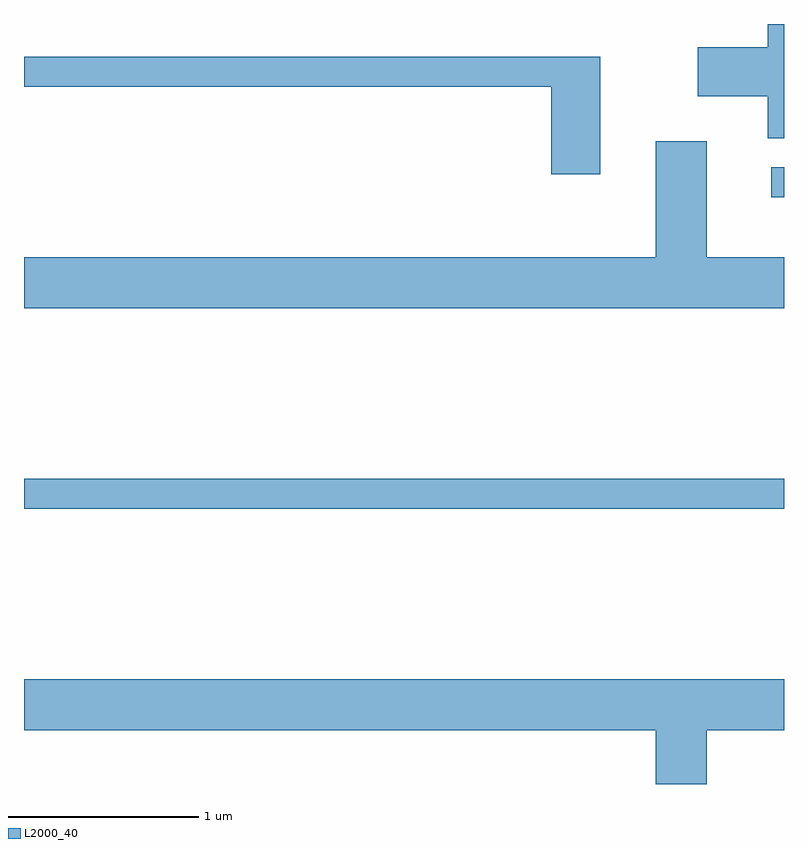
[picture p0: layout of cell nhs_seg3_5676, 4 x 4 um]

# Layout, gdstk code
import gdstk
lib = gdstk.Library(unit=1e-6, precision=1e-09)
def R(c, l, rs):  # rectangles x0, y0, x1, y1
    for r in rs: c.add(gdstk.rectangle(r[:2], r[2:], *l))
def P(c, l, *ps):  # polygons
    for p in ps: c.add(gdstk.Polygon(p, *l))
L2000_40 = (2000, 40)

nhs_seg3_5676 = lib.new_cell('nhs_seg3_5676')
R(nhs_seg3_5676, L2000_40, [(351.611,1189.341,355.611,1189.499), (355.543,1190.981,355.611,1191.139)])
P(nhs_seg3_5676, L2000_40, [(355.611,1191.892),(355.526,1191.892),(355.526,1191.769),(355.156,1191.769),(355.156,1191.511),(355.526,1191.511),(355.526,1191.291),(355.611,1191.291)],
  [(354.644,1191.719),(351.611,1191.719),(351.611,1191.561),(354.386,1191.561),(354.386,1191.101),(354.644,1191.101)],
  [(355.611,1190.664),(355.204,1190.664),(355.204,1191.274),(354.936,1191.274),(354.936,1190.664),(351.611,1190.664),(351.611,1190.396),(355.611,1190.396)],
  [(355.204,1188.176),(355.611,1188.176),(355.611,1188.444),(351.611,1188.444),(351.611,1188.176),(354.936,1188.176),(354.936,1187.892),(355.204,1187.892)])

lib.write_gds('nhs_seg3_5676.gds')
